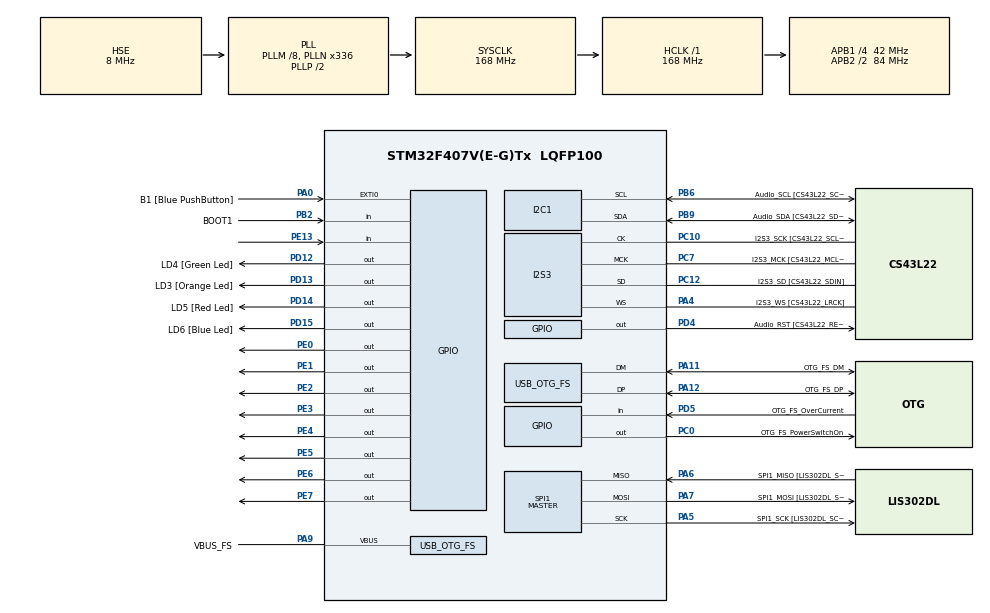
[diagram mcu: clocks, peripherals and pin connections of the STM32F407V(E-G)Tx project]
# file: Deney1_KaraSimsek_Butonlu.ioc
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I2S3.AudioFreq-Half_Duplex_Master=I2S_AUDIOFREQ_96K
I2S3.ErrorAudioFreq=-2.34 %
I2S3.ErrorAudioFreq-Half_Duplex_Master=0.8 %
I2S3.FullDuplexMode=I2S_FULLDUPLEXMODE_DISABLE
I2S3.Instance=SPI$Index
I2S3.RealAudioFreq=93.75 KHz
I2S3.RealAudioFreq-Half_Duplex_Master=96.774 KHz
I2S3.VirtualMode=I2S_MODE_MASTER
Mcu.Family=STM32F4
Mcu.Name=STM32F407V(E-G)Tx
Mcu.Package=LQFP100
NVIC.OTG_FS_IRQn=true\:0\:0\:false\:false\:true\:true\:true\:true
NVIC.PriorityGroup=NVIC_PRIORITYGROUP_0
PA0-WKUP.GPIO_Label=B1 [Blue PushButton]
PA0-WKUP.GPIO_ModeDefaultEXTI=GPIO_MODE_EVT_RISING
PA0-WKUP.GPIO_PuPd=GPIO_NOPULL
PA0-WKUP.Signal=GPXTI0
PA10.GPIO_Label=OTG_FS_ID
PA10.GPIO_Mode=GPIO_MODE_AF_PP
PA10.GPIO_PuPd=GPIO_NOPULL
PA10.GPIO_Speed=GPIO_SPEED_FREQ_LOW
PA10.Signal=USB_OTG_FS_ID
PA11.GPIO_Label=OTG_FS_DM
PA11.GPIO_Mode=GPIO_MODE_AF_PP
PA11.GPIO_PuPd=GPIO_NOPULL
PA11.GPIO_Speed=GPIO_SPEED_FREQ_LOW
PA11.Mode=Host_Only
PA11.Signal=USB_OTG_FS_DM
PA12.GPIO_Label=OTG_FS_DP
PA12.GPIO_Mode=GPIO_MODE_AF_PP
PA12.GPIO_PuPd=GPIO_NOPULL
PA12.GPIO_Speed=GPIO_SPEED_FREQ_LOW
PA12.Mode=Host_Only
PA12.Signal=USB_OTG_FS_DP
PA13.GPIO_Label=SWDIO
PA13.Mode=Serial_Wire
PA13.Signal=SYS_JTMS-SWDIO
PA14.GPIO_Label=SWCLK
PA14.Mode=Serial_Wire
PA14.Signal=SYS_JTCK-SWCLK
PA4.GPIO_Label=I2S3_WS [CS43L22_LRCK]
PA4.GPIO_Mode=GPIO_MODE_AF_PP
PA4.GPIO_PuPd=GPIO_NOPULL
PA4.GPIO_Speed=GPIO_SPEED_FREQ_LOW
PA4.Mode=Half_Duplex_Master
PA4.Signal=I2S3_WS
PA5.GPIO_Label=SPI1_SCK [LIS302DL_SCL/SPC]
PA5.GPIO_Mode=GPIO_MODE_AF_PP
PA5.GPIO_PuPd=GPIO_NOPULL
PA5.GPIO_Speed=GPIO_SPEED_FREQ_LOW
PA5.Mode=Full_Duplex_Master
PA5.Signal=SPI1_SCK
PA6.GPIO_Label=SPI1_MISO [LIS302DL_SDO]
PA6.GPIO_Mode=GPIO_MODE_AF_PP
PA6.GPIO_PuPd=GPIO_NOPULL
PA6.GPIO_Speed=GPIO_SPEED_FREQ_LOW
PA6.Mode=Full_Duplex_Master
PA6.Signal=SPI1_MISO
PA7.GPIO_Label=SPI1_MOSI [LIS302DL_SDA/SDI/SDO]
PA7.GPIO_Mode=GPIO_MODE_AF_PP
PA7.GPIO_PuPd=GPIO_NOPULL
PA7.GPIO_Speed=GPIO_SPEED_FREQ_LOW
PA7.Mode=Full_Duplex_Master
PA7.Signal=SPI1_MOSI
PA9.GPIO_Label=VBUS_FS
PA9.GPIO_Mode=GPIO_MODE_INPUT
PA9.GPIO_PuPd=GPIO_NOPULL
PA9.Mode=Activate_VBUS
PA9.Signal=USB_OTG_FS_VBUS
PB10.GPIO_Label=CLK_IN [MP45DT02_CLK]
PB10.GPIO_Mode=GPIO_MODE_AF_PP
PB10.GPIO_PuPd=GPIO_NOPULL
PB10.GPIO_Speed=GPIO_SPEED_FREQ_LOW
PB10.Signal=I2S2_CK
PB2.GPIO_Label=BOOT1
PB2.GPIO_Mode=GPIO_MODE_INPUT
PB2.GPIO_PuPd=GPIO_NOPULL
PB2.Signal=GPIO_Input
PB3.GPIO_Label=SWO
PB3.Signal=SYS_JTDO-SWO
PB6.GPIO_Label=Audio_SCL [CS43L22_SCL]
PB6.GPIO_Mode=GPIO_MODE_AF_OD
PB6.GPIO_Pu=GPIO_PULLUP
PB6.GPIO_PuPd=GPIO_NOPULL
PB6.GPIO_Speed=GPIO_SPEED_FREQ_LOW
PB6.Mode=I2C
PB6.Signal=I2C1_SCL
PB9.GPIO_Label=Audio_SDA [CS43L22_SDA]
PB9.GPIO_Mode=GPIO_MODE_AF_OD
PB9.GPIO_Pu=GPIO_PULLUP
PB9.GPIO_PuPd=GPIO_NOPULL
PB9.GPIO_Speed=GPIO_SPEED_FREQ_LOW
PB9.Mode=I2C
PB9.Signal=I2C1_SDA
PC0.GPIO_Label=OTG_FS_PowerSwitchOn
PC0.GPIO_PuPd=GPIO_NOPULL
PC0.GPIO_Speed=GPIO_SPEED_FREQ_LOW
PC0.PinState=GPIO_PIN_SET
PC0.Signal=GPIO_Output
PC10.GPIO_Label=I2S3_SCK [CS43L22_SCLK]
PC10.GPIO_Mode=GPIO_MODE_AF_PP
PC10.GPIO_PuPd=GPIO_NOPULL
PC10.GPIO_Speed=GPIO_SPEED_FREQ_LOW
PC10.Mode=Half_Duplex_Master
PC10.Signal=I2S3_CK
PC12.GPIO_Label=I2S3_SD [CS43L22_SDIN]
PC12.GPIO_Mode=GPIO_MODE_AF_PP
PC12.GPIO_PuPd=GPIO_NOPULL
PC12.GPIO_Speed=GPIO_SPEED_FREQ_LOW
PC12.Mode=Half_Duplex_Master
PC12.Signal=I2S3_SD
PC14-OSC32_IN.GPIO_Label=PC14-OSC32_IN
PC14-OSC32_IN.Mode=LSE-External-Oscillator
PC14-OSC32_IN.Signal=RCC_OSC32_IN
PC15-OSC32_OUT.GPIO_Label=PC15-OSC32_OUT
PC15-OSC32_OUT.Mode=LSE-External-Oscillator
PC15-OSC32_OUT.Signal=RCC_OSC32_OUT
PC3.GPIO_Label=PDM_OUT [MP45DT02_DOUT]
PC3.GPIO_Mode=GPIO_MODE_AF_PP
PC3.GPIO_PuPd=GPIO_NOPULL
PC3.GPIO_Speed=GPIO_SPEED_FREQ_LOW
PC3.Signal=I2S2_SD
PC7.GPIO_Label=I2S3_MCK [CS43L22_MCLK]
PC7.GPIO_Mode=GPIO_MODE_AF_PP
PC7.GPIO_PuPd=GPIO_NOPULL
PC7.GPIO_Speed=GPIO_SPEED_FREQ_LOW
PC7.Mode=Master_Clock_Activated
PC7.Signal=I2S3_MCK
PD12.GPIO_Label=LD4 [Green Led]
PD12.GPIO_PuPd=GPIO_NOPULL
PD12.GPIO_Speed=GPIO_SPEED_FREQ_LOW
PD12.Signal=GPIO_Output
PD13.GPIO_Label=LD3 [Orange Led]
PD13.GPIO_PuPd=GPIO_NOPULL
PD13.GPIO_Speed=GPIO_SPEED_FREQ_LOW
PD13.Signal=GPIO_Output
PD14.GPIO_Label=LD5 [Red Led]
PD14.GPIO_PuPd=GPIO_NOPULL
PD14.GPIO_Speed=GPIO_SPEED_FREQ_LOW
PD14.Signal=GPIO_Output
PD15.GPIO_Label=LD6 [Blue Led]
PD15.GPIO_PuPd=GPIO_NOPULL
PD15.GPIO_Speed=GPIO_SPEED_FREQ_LOW
PD15.Signal=GPIO_Output
PD4.GPIO_Label=Audio_RST [CS43L22_RESET]
PD4.GPIO_PuPd=GPIO_NOPULL
PD4.GPIO_Speed=GPIO_SPEED_FREQ_LOW
PD4.Signal=GPIO_Output
PD5.GPIO_Label=OTG_FS_OverCurrent
PD5.GPIO_Mode=GPIO_MODE_INPUT
PD5.GPIO_PuPd=GPIO_NOPULL
PD5.Signal=GPIO_Input
PE0.Signal=GPIO_Output
PE1.Signal=GPIO_Output
PE13.Signal=GPIO_Input
PE2.Signal=GPIO_Output
PE3.Signal=GPIO_Output
PE4.Signal=GPIO_Output
PE5.Signal=GPIO_Output
PE6.Signal=GPIO_Output
PE7.Signal=GPIO_Output
PH0-OSC_IN.GPIO_Label=PH0-OSC_IN
PH0-OSC_IN.Mode=HSE-External-Oscillator
PH0-OSC_IN.Signal=RCC_OSC_IN
PH1-OSC_OUT.GPIO_Label=PH1-OSC_OUT
PH1-OSC_OUT.Mode=HSE-External-Oscillator
PH1-OSC_OUT.Signal=RCC_OSC_OUT
ProjectManager.HeapSize=0x200
ProjectManager.StackSize=0x400
ProjectManager.TargetToolchain=STM32CubeIDE
RCC.48MHZClocksFreq_Value=48000000
RCC.AHBFreq_Value=168000000
RCC.APB1CLKDivider=RCC_HCLK_DIV4
RCC.APB1Freq_Value=42000000
RCC.APB1TimFreq_Value=84000000
RCC.APB2CLKDivider=RCC_HCLK_DIV2
RCC.APB2Freq_Value=84000000
RCC.APB2TimFreq_Value=168000000
RCC.CortexFreq_Value=168000000
RCC.HCLKFreq_Value=168000000
RCC.HSE_VALUE=8000000
RCC.HSI_VALUE=16000000
RCC.PLLM=8
RCC.PLLN=336
RCC.PLLQ=7
RCC.SYSCLKFreq_VALUE=168000000
RCC.SYSCLKSource=RCC_SYSCLKSOURCE_PLLCLK
RCC.VCOOutputFreq_Value=336000000
SPI1.BaudRatePrescaler-Full_Duplex_Master=SPI_BAUDRATEPRESCALER_2
SPI1.CalculateBaudRate-Full_Duplex_Master=42.0 MBits/s
SPI1.Direction=SPI_DIRECTION_2LINES
SPI1.Mode=SPI_MODE_MASTER
SPI1.Mode-Full_Duplex_Master=SPI_MODE_MASTER
SPI1.VirtualType=VM_MASTER
USB_HOST.BSP.number=1
USB_HOST.USBH_HandleTypeDef-CDC_FS=hUsbHostFS
USB_HOST.VirtualModeFS=Cdc
USB_HOST0.BSP.STBoard=false
USB_HOST0.BSP.api=Unknown
USB_HOST0.BSP.instance=PC0
USB_HOST0.BSP.ip=GPIO
USB_HOST0.BSP.mode=Output
USB_HOST0.BSP.name=Drive_VBUS_FS
USB_HOST0.BSP.solution=PC0
USB_OTG_FS.VirtualMode=Host_Only
USB_OTG_FS.phy_itface=HCD_PHY_EMBEDDED
VP_USB_HOST_VS_USB_HOST_CDC_FS.Mode=CDC_FS
board=STM32F407G-DISC1

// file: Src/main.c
/* USER CODE BEGIN Header */
/**
  ******************************************************************************
  * @file           : main.c
  * @brief          : Main program body
  ******************************************************************************
  * @attention
  *
  * Copyright (c) 2026 STMicroelectronics.
  * All rights reserved.
  *
  * This software is licensed under terms that can be found in the LICENSE file
  * in the root directory of this software component.
  * If no LICENSE file comes with this software, it is provided AS-IS.
  *
  ******************************************************************************
  */
/* USER CODE END Header */
#include "main.h"
#include "usb_host.h"

I2C_HandleTypeDef hi2c1;

I2S_HandleTypeDef hi2s3;

SPI_HandleTypeDef hspi1;

/* USER CODE BEGIN PV */
uint16_t delay_val = 200; // Başlangıç gecikme süresi (ms)
/* USER CODE END PV */

void SystemClock_Config(void);
static void MX_GPIO_Init(void);
static void MX_I2C1_Init(void);
static void MX_I2S3_Init(void);
static void MX_SPI1_Init(void);
void MX_USB_HOST_Process(void);

int main(void)
{

  /* MCU Configuration--------------------------------------------------------*/

  /* Reset of all peripherals, Initializes the Flash interface and the Systick. */
  HAL_Init();

  /* Configure the system clock */
  SystemClock_Config();

  /* Initialize all configured peripherals */
  MX_GPIO_Init();
  MX_I2C1_Init();
  MX_I2S3_Init();
  MX_SPI1_Init();
  MX_USB_HOST_Init();

  /* Infinite loop */
  /* USER CODE BEGIN WHILE */
  while (1)
  {
      // 1. Soldan Sağa Kayma
      for(int i = 0; i < 8; i++)
      {
          HAL_GPIO_WritePin(GPIOE, (uint16_t)1 << i, GPIO_PIN_SET); // LED'i yak

          // Buton Kontrolü (PE13)
          if(HAL_GPIO_ReadPin(GPIOE, GPIO_PIN_13) == GPIO_PIN_RESET) // Butona basıldıysa (0 ise)
          {
              delay_val -= 20; // Hızlandır
              if(delay_val < 40) delay_val = 200; // Çok hızlanırsa başa dön
              HAL_Delay(50); // Titreşim engelleme
          }

          HAL_Delay(delay_val);
          HAL_GPIO_WritePin(GPIOE, (uint16_t)1 << i, GPIO_PIN_RESET); // LED'i söndür
      }

      // 2. Sağdan Sola Kayma
      for(int i = 6; i > 0; i--)
      {
          HAL_GPIO_WritePin(GPIOE, (uint16_t)1 << i, GPIO_PIN_SET);

          if(HAL_GPIO_ReadPin(GPIOE, GPIO_PIN_13) == GPIO_PIN_RESET)
          {
              delay_val -= 20;
              if(delay_val < 40) delay_val = 200;
              HAL_Delay(50);
          }

          HAL_Delay(delay_val);
          HAL_GPIO_WritePin(GPIOE, (uint16_t)1 << i, GPIO_PIN_RESET);
      }
  }
    /* USER CODE END WHILE */
    MX_USB_HOST_Process();

  }

void SystemClock_Config(void)
{
  RCC_OscInitTypeDef RCC_OscInitStruct = {0};
  RCC_ClkInitTypeDef RCC_ClkInitStruct = {0};

  /** Configure the main internal regulator output voltage
  */
  __HAL_RCC_PWR_CLK_ENABLE();
  __HAL_PWR_VOLTAGESCALING_CONFIG(PWR_REGULATOR_VOLTAGE_SCALE1);

  /** Initializes the RCC Oscillators according to the specified parameters
  * in the RCC_OscInitTypeDef structure.
  */
  RCC_OscInitStruct.OscillatorType = RCC_OSCILLATORTYPE_HSE;
  RCC_OscInitStruct.HSEState = RCC_HSE_ON;
  RCC_OscInitStruct.PLL.PLLState = RCC_PLL_ON;
  RCC_OscInitStruct.PLL.PLLSource = RCC_PLLSOURCE_HSE;
  RCC_OscInitStruct.PLL.PLLM = 8;
  RCC_OscInitStruct.PLL.PLLN = 336;
  RCC_OscInitStruct.PLL.PLLP = RCC_PLLP_DIV2;
  RCC_OscInitStruct.PLL.PLLQ = 7;
  if (HAL_RCC_OscConfig(&RCC_OscInitStruct) != HAL_OK)
  {
    Error_Handler();
  }

  /** Initializes the CPU, AHB and APB buses clocks
  */
  RCC_ClkInitStruct.ClockType = RCC_CLOCKTYPE_HCLK|RCC_CLOCKTYPE_SYSCLK
                              |RCC_CLOCKTYPE_PCLK1|RCC_CLOCKTYPE_PCLK2;
  RCC_ClkInitStruct.SYSCLKSource = RCC_SYSCLKSOURCE_PLLCLK;
  RCC_ClkInitStruct.AHBCLKDivider = RCC_SYSCLK_DIV1;
  RCC_ClkInitStruct.APB1CLKDivider = RCC_HCLK_DIV4;
  RCC_ClkInitStruct.APB2CLKDivider = RCC_HCLK_DIV2;

  if (HAL_RCC_ClockConfig(&RCC_ClkInitStruct, FLASH_LATENCY_5) != HAL_OK)
  {
    Error_Handler();
  }
}

static void MX_I2C1_Init(void)
{

  hi2c1.Instance = I2C1;
  hi2c1.Init.ClockSpeed = 100000;
  hi2c1.Init.DutyCycle = I2C_DUTYCYCLE_2;
  hi2c1.Init.OwnAddress1 = 0;
  hi2c1.Init.AddressingMode = I2C_ADDRESSINGMODE_7BIT;
  hi2c1.Init.DualAddressMode = I2C_DUALADDRESS_DISABLE;
  hi2c1.Init.OwnAddress2 = 0;
  hi2c1.Init.GeneralCallMode = I2C_GENERALCALL_DISABLE;
  hi2c1.Init.NoStretchMode = I2C_NOSTRETCH_DISABLE;
  if (HAL_I2C_Init(&hi2c1) != HAL_OK)
  {
    Error_Handler();
  }

}

static void MX_I2S3_Init(void)
{

  hi2s3.Instance = SPI3;
  hi2s3.Init.Mode = I2S_MODE_MASTER_TX;
  hi2s3.Init.Standard = I2S_STANDARD_PHILIPS;
  hi2s3.Init.DataFormat = I2S_DATAFORMAT_16B;
  hi2s3.Init.MCLKOutput = I2S_MCLKOUTPUT_ENABLE;
  hi2s3.Init.AudioFreq = I2S_AUDIOFREQ_96K;
  hi2s3.Init.CPOL = I2S_CPOL_LOW;
  hi2s3.Init.ClockSource = I2S_CLOCK_PLL;
  hi2s3.Init.FullDuplexMode = I2S_FULLDUPLEXMODE_DISABLE;
  if (HAL_I2S_Init(&hi2s3) != HAL_OK)
  {
    Error_Handler();
  }

}

static void MX_SPI1_Init(void)
{

  /* SPI1 parameter configuration*/
  hspi1.Instance = SPI1;
  hspi1.Init.Mode = SPI_MODE_MASTER;
  hspi1.Init.Direction = SPI_DIRECTION_2LINES;
  hspi1.Init.DataSize = SPI_DATASIZE_8BIT;
  hspi1.Init.CLKPolarity = SPI_POLARITY_LOW;
  hspi1.Init.CLKPhase = SPI_PHASE_1EDGE;
  hspi1.Init.NSS = SPI_NSS_SOFT;
  hspi1.Init.BaudRatePrescaler = SPI_BAUDRATEPRESCALER_2;
  hspi1.Init.FirstBit = SPI_FIRSTBIT_MSB;
  hspi1.Init.TIMode = SPI_TIMODE_DISABLE;
  hspi1.Init.CRCCalculation = SPI_CRCCALCULATION_DISABLE;
  hspi1.Init.CRCPolynomial = 10;
  if (HAL_SPI_Init(&hspi1) != HAL_OK)
  {
    Error_Handler();
  }

}

static void MX_GPIO_Init(void)
{
  GPIO_InitTypeDef GPIO_InitStruct = {0};

  /* GPIO Ports Clock Enable */
  __HAL_RCC_GPIOE_CLK_ENABLE();
  __HAL_RCC_GPIOC_CLK_ENABLE();
  __HAL_RCC_GPIOH_CLK_ENABLE();
  __HAL_RCC_GPIOA_CLK_ENABLE();
  __HAL_RCC_GPIOB_CLK_ENABLE();
  __HAL_RCC_GPIOD_CLK_ENABLE();

  /*Configure GPIO pin Output Level */
  HAL_GPIO_WritePin(GPIOE, GPIO_PIN_2|GPIO_PIN_3|GPIO_PIN_4|GPIO_PIN_5
                          |GPIO_PIN_6|GPIO_PIN_7|GPIO_PIN_0|GPIO_PIN_1, GPIO_PIN_RESET);

  /*Configure GPIO pin Output Level */
  HAL_GPIO_WritePin(OTG_FS_PowerSwitchOn_GPIO_Port, OTG_FS_PowerSwitchOn_Pin, GPIO_PIN_SET);

  /*Configure GPIO pin Output Level */
  HAL_GPIO_WritePin(GPIOD, LD4_Pin|LD3_Pin|LD5_Pin|LD6_Pin
                          |Audio_RST_Pin, GPIO_PIN_RESET);

  /*Configure GPIO pins : PE2 PE3 PE4 PE5
                           PE6 PE7 PE0 PE1 */
  GPIO_InitStruct.Pin = GPIO_PIN_2|GPIO_PIN_3|GPIO_PIN_4|GPIO_PIN_5
                          |GPIO_PIN_6|GPIO_PIN_7|GPIO_PIN_0|GPIO_PIN_1;
  GPIO_InitStruct.Mode = GPIO_MODE_OUTPUT_PP;
  GPIO_InitStruct.Pull = GPIO_NOPULL;
  GPIO_InitStruct.Speed = GPIO_SPEED_FREQ_LOW;
  HAL_GPIO_Init(GPIOE, &GPIO_InitStruct);

  /*Configure GPIO pin : OTG_FS_PowerSwitchOn_Pin */
  GPIO_InitStruct.Pin = OTG_FS_PowerSwitchOn_Pin;
  GPIO_InitStruct.Mode = GPIO_MODE_OUTPUT_PP;
  GPIO_InitStruct.Pull = GPIO_NOPULL;
  GPIO_InitStruct.Speed = GPIO_SPEED_FREQ_LOW;
  HAL_GPIO_Init(OTG_FS_PowerSwitchOn_GPIO_Port, &GPIO_InitStruct);

  /*Configure GPIO pin : PDM_OUT_Pin */
  GPIO_InitStruct.Pin = PDM_OUT_Pin;
  GPIO_InitStruct.Mode = GPIO_MODE_AF_PP;
  GPIO_InitStruct.Pull = GPIO_NOPULL;
  GPIO_InitStruct.Speed = GPIO_SPEED_FREQ_LOW;
  GPIO_InitStruct.Alternate = GPIO_AF5_SPI2;
  HAL_GPIO_Init(PDM_OUT_GPIO_Port, &GPIO_InitStruct);

  /*Configure GPIO pin : B1_Pin */
  GPIO_InitStruct.Pin = B1_Pin;
  GPIO_InitStruct.Mode = GPIO_MODE_EVT_RISING;
  GPIO_InitStruct.Pull = GPIO_NOPULL;
  HAL_GPIO_Init(B1_GPIO_Port, &GPIO_InitStruct);

  /*Configure GPIO pin : BOOT1_Pin */
  GPIO_InitStruct.Pin = BOOT1_Pin;
  GPIO_InitStruct.Mode = GPIO_MODE_INPUT;
  GPIO_InitStruct.Pull = GPIO_NOPULL;
  HAL_GPIO_Init(BOOT1_GPIO_Port, &GPIO_InitStruct);

  /*Configure GPIO pin : PE13 */
  GPIO_InitStruct.Pin = GPIO_PIN_13;
  GPIO_InitStruct.Mode = GPIO_MODE_INPUT;
  GPIO_InitStruct.Pull = GPIO_NOPULL;
  HAL_GPIO_Init(GPIOE, &GPIO_InitStruct);

  /*Configure GPIO pin : CLK_IN_Pin */
  GPIO_InitStruct.Pin = CLK_IN_Pin;
  GPIO_InitStruct.Mode = GPIO_MODE_AF_PP;
  GPIO_InitStruct.Pull = GPIO_NOPULL;
  GPIO_InitStruct.Speed = GPIO_SPEED_FREQ_LOW;
  GPIO_InitStruct.Alternate = GPIO_AF5_SPI2;
  HAL_GPIO_Init(CLK_IN_GPIO_Port, &GPIO_InitStruct);

  /*Configure GPIO pins : LD4_Pin LD3_Pin LD5_Pin LD6_Pin
                           Audio_RST_Pin */
  GPIO_InitStruct.Pin = LD4_Pin|LD3_Pin|LD5_Pin|LD6_Pin
                          |Audio_RST_Pin;
  GPIO_InitStruct.Mode = GPIO_MODE_OUTPUT_PP;
  GPIO_InitStruct.Pull = GPIO_NOPULL;
  GPIO_InitStruct.Speed = GPIO_SPEED_FREQ_LOW;
  HAL_GPIO_Init(GPIOD, &GPIO_InitStruct);

  /*Configure GPIO pin : OTG_FS_OverCurrent_Pin */
  GPIO_InitStruct.Pin = OTG_FS_OverCurrent_Pin;
  GPIO_InitStruct.Mode = GPIO_MODE_INPUT;
  GPIO_InitStruct.Pull = GPIO_NOPULL;
  HAL_GPIO_Init(OTG_FS_OverCurrent_GPIO_Port, &GPIO_InitStruct);

}

void Error_Handler(void)
{
  __disable_irq();
  while (1)
  {
  }
}
